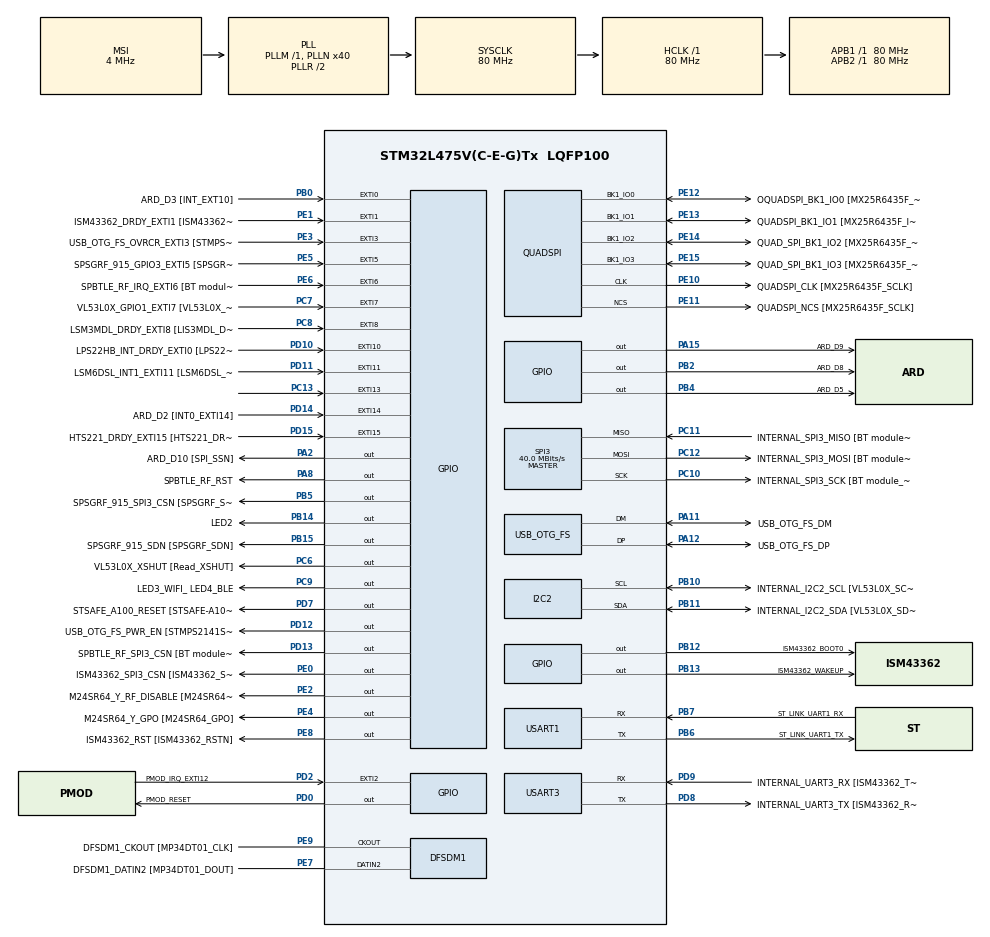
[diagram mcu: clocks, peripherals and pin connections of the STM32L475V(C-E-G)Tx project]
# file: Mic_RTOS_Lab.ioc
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FREERTOS.Tasks01=AudioTask,24,512,StartAudioTask,Default,NULL,Dynamic,NULL,NULL
I2C2.Timing=0x10D19CE4
Mcu.Family=STM32L4
Mcu.Name=STM32L475V(C-E-G)Tx
Mcu.Package=LQFP100
NVIC.EXTI15_10_IRQn=true\:5\:0\:false\:false\:true\:true\:true\:true\:true
NVIC.EXTI9_5_IRQn=true\:5\:0\:false\:false\:true\:true\:true\:true\:true
NVIC.PriorityGroup=NVIC_PRIORITYGROUP_4
NVIC.TIM2_IRQn=true\:5\:0\:false\:false\:true\:true\:true\:true\:true
NVIC.TIM6_DAC_IRQn=true\:15\:0\:false\:false\:true\:false\:false\:true\:true
NVIC.TimeBase=TIM6_DAC_IRQn
NVIC.TimeBaseIP=TIM6
PA0.GPIO_Label=ARD_D1 [UART4_TX]
PA0.Signal=UART4_TX
PA1.GPIO_Label=ARD_D0 [UART4_RX]
PA1.Signal=UART4_RX
PA10.GPIO_Label=USB_OTG_FS_ID
PA10.Signal=USB_OTG_FS_ID
PA11.GPIO_Label=USB_OTG_FS_DM
PA11.Mode=Device_Only
PA11.Signal=USB_OTG_FS_DM
PA12.GPIO_Label=USB_OTG_FS_DP
PA12.Mode=Device_Only
PA12.Signal=USB_OTG_FS_DP
PA13\ (JTMS-SWDIO).GPIO_Label=SYS_JTMS_SWDIO
PA13\ (JTMS-SWDIO).Mode=Serial_Wire
PA13\ (JTMS-SWDIO).Signal=SYS_JTMS-SWDIO
PA14\ (JTCK-SWCLK).GPIO_Label=SYS_JTCK_SWCLK
PA14\ (JTCK-SWCLK).Mode=Serial_Wire
PA14\ (JTCK-SWCLK).Signal=SYS_JTCK-SWCLK
PA15\ (JTDI).GPIO_Label=ARD_D9
PA15\ (JTDI).Signal=GPIO_Output
PA2.GPIO_Label=ARD_D10 [SPI_SSN]
PA2.Signal=GPIO_Output
PA3.GPIO_Label=ARD_D4
PA3.Signal=S_TIM2_CH4
PA4.GPIO_Label=ARD_D7
PA4.Signal=ADCx_IN9
PA5.GPIO_Label=ARD_D13 [SPI1_SCK]
PA5.Signal=SPI1_SCK
PA6.GPIO_Label=ARD_D12 [SPI1_MISO]
PA6.Signal=SPI1_MISO
PA7.GPIO_Label=ARD_D11 [SPI1_MOSI]
PA7.Signal=SPI1_MOSI
PA8.GPIO_Label=SPBTLE_RF_RST
PA8.Signal=GPIO_Output
PA9.GPIO_Label=USB_OTG_FS_VBUS [STMPS2141STR_OUT]
PA9.Signal=USB_OTG_FS_VBUS
PB0.GPIO_Label=ARD_D3 [INT_EXT10]
PB0.Signal=GPXTI0
PB1.GPIO_Label=ARD_D6 [ADC1_IN6]
PB1.Signal=ADCx_IN16
PB10.GPIO_Label=INTERNAL_I2C2_SCL [VL53L0X_SCL]
PB10.GPIO_Pu=GPIO_PULLUP
PB10.Mode=I2C
PB10.Signal=I2C2_SCL
PB11.GPIO_Label=INTERNAL_I2C2_SDA [VL53L0X_SDA]
PB11.GPIO_Pu=GPIO_PULLUP
PB11.Mode=I2C
PB11.Signal=I2C2_SDA
PB12.GPIO_Label=ISM43362_BOOT0
PB12.Signal=GPIO_Output
PB13.GPIO_Label=ISM43362_WAKEUP
PB13.Signal=GPIO_Output
PB14.GPIO_Label=LED2
PB14.Signal=GPIO_Output
PB15.GPIO_Label=SPSGRF_915_SDN [SPSGRF_SDN]
PB15.Signal=GPIO_Output
PB2.GPIO_Label=ARD_D8
PB2.Signal=GPIO_Output
PB3\ (JTDO-TRACESWO).GPIO_Label=SYS_JTD0_SWO
PB3\ (JTDO-TRACESWO).Signal=SYS_JTDO-SWO
PB4\ (NJTRST).GPIO_Label=ARD_D5
PB4\ (NJTRST).Signal=GPIO_Output
PB5.GPIO_Label=SPSGRF_915_SPI3_CSN [SPSGRF_SPI_CS]
PB5.PinState=GPIO_PIN_SET
PB5.Signal=GPIO_Output
PB6.GPIO_Label=ST_LINK_UART1_TX
PB6.Mode=Asynchronous
PB6.Signal=USART1_TX
PB7.GPIO_Label=ST_LINK_UART1_RX
PB7.Mode=Asynchronous
PB7.Signal=USART1_RX
PB8.GPIO_Label=ARD_D15 [I2C1_SCL]
PB8.Signal=I2C1_SCL
PB9.GPIO_Label=ARD_D14 [I2C1_SDA]
PB9.Signal=I2C1_SDA
PC0.GPIO_Label=ARD_A5 [ADC]
PC0.Signal=ADCx_IN1
PC1.GPIO_Label=ARD_A4 [ADC]
PC1.Signal=ADCx_IN2
PC10.GPIO_Label=INTERNAL_SPI3_SCK [BT module_SPI_SCLK] [ISM43362_SCK]
PC10.Mode=Full_Duplex_Master
PC10.Signal=SPI3_SCK
PC11.GPIO_Label=INTERNAL_SPI3_MISO [BT module_SPI_MISO] [ISM43362_MISO]
PC11.Mode=Full_Duplex_Master
PC11.Signal=SPI3_MISO
PC12.GPIO_Label=INTERNAL_SPI3_MOSI [BT module_SPI_MOSI] [ISM43362_MOSI]
PC12.Mode=Full_Duplex_Master
PC12.Signal=SPI3_MOSI
PC13.GPIO_ModeDefaultEXTI=GPIO_MODE_IT_RISING_FALLING
PC13.Signal=GPXTI13
PC14-OSC32_IN\ (PC14).Mode=LSE-External-Oscillator
PC14-OSC32_IN\ (PC14).Signal=RCC_OSC32_IN
PC15-OSC32_OUT\ (PC15).Mode=LSE-External-Oscillator
PC15-OSC32_OUT\ (PC15).Signal=RCC_OSC32_OUT
PC2.GPIO_Label=ARD_A3 [ADC]
PC2.Signal=ADCx_IN3
PC3.GPIO_Label=ARD_A2 [ADC]
PC3.Signal=ADCx_IN4
PC4.GPIO_Label=ARD_A1 [ADC]
PC4.Signal=ADCx_IN13
PC5.GPIO_Label=ARD_A0 [ADC]
PC5.Signal=ADCx_IN14
PC6.GPIO_Label=VL53L0X_XSHUT [Read_XSHUT]
PC6.Signal=GPIO_Output
PC7.GPIO_Label=VL53L0X_GPIO1_EXTI7 [VL53L0X_GPIO1]
PC7.Signal=GPXTI7
PC8.GPIO_Label=LSM3MDL_DRDY_EXTI8 [LIS3MDL_DRDY]
PC8.Signal=GPXTI8
PC9.GPIO_Label=LED3_WIFI_ LED4_BLE
PC9.Signal=GPIO_Output
PD0.GPIO_Label=PMOD_RESET
PD0.Signal=GPIO_Output
PD1.GPIO_Label=PMOD_SPI2_SCK
PD1.Signal=SPI2_SCK
PD10.GPIO_Label=LPS22HB_INT_DRDY_EXTI0 [LPS22HB_INT_DRDY] 
PD10.Signal=GPXTI10
PD11.GPIO_Label=LSM6DSL_INT1_EXTI11 [LSM6DSL_INT1]
PD11.Signal=GPXTI11
PD12.GPIO_Label=USB_OTG_FS_PWR_EN [STMPS2141STR_EN]
PD12.Signal=GPIO_Output
PD13.GPIO_Label=SPBTLE_RF_SPI3_CSN [BT module_SPI_CS]
PD13.PinState=GPIO_PIN_SET
PD13.Signal=GPIO_Output
PD14.GPIO_Label=ARD_D2 [INT0_EXTI14]
PD14.Signal=GPXTI14
PD15.GPIO_Label=HTS221_DRDY_EXTI15 [HTS221_DRDY]
PD15.Signal=GPXTI15
PD2.GPIO_Label=PMOD_IRQ_EXTI12
PD2.Signal=GPXTI2
PD3.GPIO_Label=PMOD_UART2_CTS
PD3.Signal=USART2_CTS
PD4.GPIO_Label=PMOD_UART2_RTS
PD4.Signal=USART2_RTS
PD5.GPIO_Label=PMOD_UART2_TX
PD5.Signal=USART2_TX
PD6.GPIO_Label=PMOD_UART2_RX
PD6.Signal=USART2_RX
PD7.GPIO_Label=STSAFE_A100_RESET [STSAFE-A100_RESET]
PD7.Signal=GPIO_Output
PD8.GPIO_Label=INTERNAL_UART3_TX [ISM43362_RX]
PD8.Mode=Asynchronous
PD8.Signal=USART3_TX
PD9.GPIO_Label=INTERNAL_UART3_RX [ISM43362_TX]
PD9.Mode=Asynchronous
PD9.Signal=USART3_RX
PE0.GPIO_Label=ISM43362_SPI3_CSN [ISM43362_SSN]
PE0.PinState=GPIO_PIN_SET
PE0.Signal=GPIO_Output
PE1.GPIO_Label=ISM43362_DRDY_EXTI1 [ISM43362_DATARDY]
PE1.Signal=GPXTI1
PE10.GPIO_Label=QUADSPI_CLK [MX25R6435F_SCLK]
PE10.Mode=Single Bank
PE10.Signal=QUADSPI_CLK
PE11.GPIO_Label=QUADSPI_NCS [MX25R6435F_SCLK]
PE11.Mode=Single Bank
PE11.Signal=QUADSPI_NCS
PE12.GPIO_Label=OQUADSPI_BK1_IO0 [MX25R6435F_IO0]
PE12.Mode=Single Bank
PE12.Signal=QUADSPI_BK1_IO0
PE13.GPIO_Label=QUADSPI_BK1_IO1 [MX25R6435F_IO1]
PE13.Mode=Single Bank
PE13.Signal=QUADSPI_BK1_IO1
PE14.GPIO_Label=QUAD_SPI_BK1_IO2 [MX25R6435F_IO2]
PE14.Mode=Single Bank
PE14.Signal=QUADSPI_BK1_IO2
PE15.GPIO_Label=QUAD_SPI_BK1_IO3 [MX25R6435F_IO3]
PE15.Mode=Single Bank
PE15.Signal=QUADSPI_BK1_IO3
PE2.GPIO_Label=M24SR64_Y_RF_DISABLE [M24SR64_RFDIS]
PE2.Signal=GPIO_Output
PE3.GPIO_Label=USB_OTG_FS_OVRCR_EXTI3 [STMPS2141STR_FAULT]
PE3.Signal=GPXTI3
PE4.GPIO_Label=M24SR64_Y_GPO [M24SR64_GPO]
PE4.Signal=GPIO_Output
PE5.GPIO_Label=SPSGRF_915_GPIO3_EXTI5 [SPSGRF_GPIO_3]
PE5.Signal=GPXTI5
PE6.GPIO_Label=SPBTLE_RF_IRQ_EXTI6 [BT module_SPI_IRQ]
PE6.Signal=GPXTI6
PE7.GPIO_Label=DFSDM1_DATIN2 [MP34DT01_DOUT]
PE7.Signal=S_DATAIN2DFSDM1
PE8.GPIO_Label=ISM43362_RST [ISM43362_RSTN]
PE8.Signal=GPIO_Output
PE9.GPIO_Label=DFSDM1_CKOUT [MP34DT01_CLK]
PE9.Signal=S_CKOUTDFSDM1
ProjectManager.HeapSize=0x200
ProjectManager.StackSize=0x400
ProjectManager.TargetToolchain=STM32CubeIDE
QUADSPI.ClockPrescaler=2
QUADSPI.FifoThreshold=4
QUADSPI.FlashSize=23
QUADSPI.SampleShifting=QSPI_SAMPLE_SHIFTING_HALFCYCLE
RCC.ADCFreq_Value=48000000
RCC.AHBFreq_Value=80000000
RCC.APB1Freq_Value=80000000
RCC.APB1TimFreq_Value=80000000
RCC.APB2Freq_Value=80000000
RCC.APB2TimFreq_Value=80000000
RCC.CortexFreq_Value=80000000
RCC.HCLKFreq_Value=80000000
RCC.HSE_VALUE=8000000
RCC.HSI_VALUE=16000000
RCC.MSI_VALUE=4000000
RCC.PLLN=40
RCC.PLLSAI1N=24
RCC.SYSCLKFreq_VALUE=80000000
RCC.SYSCLKSource=RCC_SYSCLKSOURCE_PLLCLK
RCC.USBFreq_Value=48000000
RCC.VCOOutputFreq_Value=160000000
SH.ADCx_IN1.0=ADC1_IN1
SH.ADCx_IN13.0=ADC1_IN13
SH.ADCx_IN14.0=ADC1_IN14
SH.ADCx_IN16.0=ADC1_IN16
SH.ADCx_IN2.0=ADC1_IN2
SH.ADCx_IN3.0=ADC1_IN3
SH.ADCx_IN4.0=ADC1_IN4
SH.ADCx_IN9.0=ADC1_IN9
SH.S_CKOUTDFSDM1.0=DFSDM1_CKOUT,CKOUT
SH.S_CKOUTDFSDM1.1=DFSDM1_CKOUT,PDM_SPI_Input_from_ch12_and_Internal_Clock
SH.S_DATAIN2DFSDM1.0=DFSDM1_DATIN2,PDM_SPI_Input_from_ch12_and_Internal_Clock
SH.S_TIM2_CH4.0=TIM2_CH4
SPI3.CalculateBaudRate=40.0 MBits/s
SPI3.Direction=SPI_DIRECTION_2LINES
SPI3.Mode=SPI_MODE_MASTER
SPI3.VirtualType=VM_MASTER
TIM2.Period=19999
TIM2.Prescaler=39999
USART1.VirtualMode-Asynchronous=VM_ASYNC
USART3.VirtualMode-Asynchronous=VM_ASYNC
USB_OTG_FS.VirtualMode=Device_Only
VP_FREERTOS_VS_CMSIS_V2.Mode=CMSIS_V2
VP_SYS_VS_tim6.Mode=TIM6
VP_TIM2_VS_ClockSourceINT.Mode=Internal
board=B-L475E-IOT01A2

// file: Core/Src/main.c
/* USER CODE BEGIN Header */
/**
  ******************************************************************************
  * @file           : main.c
  * @brief          : Main program body
  ******************************************************************************
  * @attention
  *
  * Copyright (c) 2026 STMicroelectronics.
  * All rights reserved.
  *
  * This software is licensed under terms that can be found in the LICENSE file
  * in the root directory of this software component.
  * If no LICENSE file comes with this software, it is provided AS-IS.
  *
  ******************************************************************************
  */
/* USER CODE END Header */
#include "main.h"
#include "cmsis_os.h"

/* USER CODE BEGIN PD */
/*
 * 麥克風 MP34DT01 (PDM) -> DFSDM1 Channel1 (讀 PE7 = DATIN2) -> Filter0 -> DMA1_Channel4 -> PCM_Buffer
 *
 * 時脈：DFSDM CKOUT = SYSCLK 80 MHz / 40 = 2 MHz   (MP34DT01 可接受 1 ~ 3.25 MHz)
 * 濾波：Sinc3, FOSR = 125, IOSR = 1               -> 取樣率 = 2 MHz / 125 = 16 kHz
 *
 * PCM_Buffer 有 PCM_BUFFER_LEN 個 sample，DMA 為 circular 模式：
 *   填滿前半 (top half)    -> HalfCplt callback -> toggle PIN1 (ARD_D8 = PB2)
 *   填滿後半 (bottom half) -> Cplt callback     -> toggle PIN2 (ARD_D9 = PA15)
 * 每半個 buffer 的時間 = (PCM_BUFFER_LEN/2) / 16 kHz = 256 / 16000 = 16 ms
 * PIN1、PIN2 各自每 32 ms toggle 一次 -> 方波週期 64 ms (15.625 Hz)，兩者相位差 16 ms
 * 用邏輯分析儀量到 PIN1 方波頻率 f 後反推取樣率：Fs = f * 2 * PCM_BUFFER_LEN
 */
#define AUDIO_CKOUT_DIVIDER   40U     /* 80 MHz / 40 = 2 MHz 麥克風時脈 */
#define AUDIO_FOSR            125U    /* 2 MHz / 125 = 16 kHz 取樣率   */
#define PCM_BUFFER_LEN        512U    /* 整個 buffer 的 sample 數       */

#define PIN1_GPIO_Port        ARD_D8_GPIO_Port   /* PB2  : top half    */
#define PIN1_Pin              ARD_D8_Pin
#define PIN2_GPIO_Port        ARD_D9_GPIO_Port   /* PA15 : bottom half */
#define PIN2_Pin              ARD_D9_Pin

#define FLAG_HALF_FULL        0x01U
#define FLAG_FULL             0x02U
/* USER CODE END PD */

DFSDM_Channel_HandleTypeDef hdfsdm1_channel1;

I2C_HandleTypeDef hi2c2;

QSPI_HandleTypeDef hqspi;

SPI_HandleTypeDef hspi3;

TIM_HandleTypeDef htim2;

UART_HandleTypeDef huart1;
UART_HandleTypeDef huart3;

PCD_HandleTypeDef hpcd_USB_OTG_FS;

/* Definitions for AudioTask */
osThreadId_t AudioTaskHandle;
const osThreadAttr_t AudioTask_attributes = {
  .name = "AudioTask",
  .stack_size = 512 * 4,
  .priority = (osPriority_t) osPriorityNormal,
};

void SystemClock_Config(void);
static void MX_GPIO_Init(void);
static void MX_DFSDM1_Init(void);
static void MX_I2C2_Init(void);
static void MX_QUADSPI_Init(void);
static void MX_SPI3_Init(void);
static void MX_TIM2_Init(void);
static void MX_USART1_UART_Init(void);
static void MX_USART3_UART_Init(void);
static void MX_USB_OTG_FS_PCD_Init(void);
void StartAudioTask(void *argument);

/* USER CODE BEGIN 0 */
DFSDM_Filter_HandleTypeDef hdfsdm1_filter0;
DMA_HandleTypeDef          hdma_dfsdm1_flt0;

/* DMA 目的地：DFSDM 輸出 24-bit 資料放在 32-bit word 的高 24 位 */
int32_t PCM_Buffer[PCM_BUFFER_LEN];

/* 計數器，方便在 debugger 的 Live Expressions 觀察 */
volatile uint32_t halfCpltCount = 0;
volatile uint32_t cpltCount     = 0;
volatile uint32_t taskLoopCount = 0;

/*
 * DFSDM Filter0 + DMA 初始化。
 * 寫在 USER CODE 區塊裡，所以就算用 CubeMX 重新產生程式碼也不會被覆蓋。
 */
static void Audio_DFSDM_Filter_Init(void)
{
  hdfsdm1_filter0.Instance                          = DFSDM1_Filter0;
  hdfsdm1_filter0.Init.RegularParam.Trigger         = DFSDM_FILTER_SW_TRIGGER;
  hdfsdm1_filter0.Init.RegularParam.FastMode        = ENABLE;
  hdfsdm1_filter0.Init.RegularParam.DmaMode         = ENABLE;
  hdfsdm1_filter0.Init.InjectedParam.Trigger       = DFSDM_FILTER_SW_TRIGGER;
  hdfsdm1_filter0.Init.InjectedParam.ScanMode      = DISABLE;
  hdfsdm1_filter0.Init.InjectedParam.DmaMode       = DISABLE;
  hdfsdm1_filter0.Init.InjectedParam.ExtTrigger    = DFSDM_FILTER_EXT_TRIG_TIM1_TRGO;
  hdfsdm1_filter0.Init.InjectedParam.ExtTriggerEdge = DFSDM_FILTER_EXT_TRIG_RISING_EDGE;
  hdfsdm1_filter0.Init.FilterParam.SincOrder        = DFSDM_FILTER_SINC3_ORDER;
  hdfsdm1_filter0.Init.FilterParam.Oversampling     = AUDIO_FOSR;
  hdfsdm1_filter0.Init.FilterParam.IntOversampling  = 1;
  if (HAL_DFSDM_FilterInit(&hdfsdm1_filter0) != HAL_OK)   /* 會呼叫 HAL_DFSDM_FilterMspInit 設定 DMA */
  {
    Error_Handler();
  }

  /* Filter0 的 regular 轉換來源 = Channel1，連續轉換 */
  if (HAL_DFSDM_FilterConfigRegChannel(&hdfsdm1_filter0, DFSDM_CHANNEL_1,
                                       DFSDM_CONTINUOUS_CONV_ON) != HAL_OK)
  {
    Error_Handler();
  }
}
/* USER CODE END 0 */

int main(void)
{

  /* MCU Configuration--------------------------------------------------------*/

  /* Reset of all peripherals, Initializes the Flash interface and the Systick. */
  HAL_Init();

  /* Configure the system clock */
  SystemClock_Config();

  /* Initialize all configured peripherals */
  MX_GPIO_Init();
  MX_DFSDM1_Init();
  MX_I2C2_Init();
  MX_QUADSPI_Init();
  MX_SPI3_Init();
  MX_TIM2_Init();
  MX_USART1_UART_Init();
  MX_USART3_UART_Init();
  MX_USB_OTG_FS_PCD_Init();
  /* USER CODE BEGIN 2 */
  Audio_DFSDM_Filter_Init();
  HAL_GPIO_WritePin(PIN1_GPIO_Port, PIN1_Pin, GPIO_PIN_RESET);
  HAL_GPIO_WritePin(PIN2_GPIO_Port, PIN2_Pin, GPIO_PIN_RESET);
  /* USER CODE END 2 */

  /* Init scheduler */
  osKernelInitialize();

  /* Create the thread(s) */
  /* creation of AudioTask */
  AudioTaskHandle = osThreadNew(StartAudioTask, NULL, &AudioTask_attributes);

  /* Start scheduler */
  osKernelStart();

  /* We should never get here as control is now taken by the scheduler */

  /* Infinite loop */
  while (1)
  {

  }
}

void SystemClock_Config(void)
{
  RCC_OscInitTypeDef RCC_OscInitStruct = {0};
  RCC_ClkInitTypeDef RCC_ClkInitStruct = {0};

  /** Configure the main internal regulator output voltage
  */
  if (HAL_PWREx_ControlVoltageScaling(PWR_REGULATOR_VOLTAGE_SCALE1) != HAL_OK)
  {
    Error_Handler();
  }

  /** Configure LSE Drive Capability
  */
  HAL_PWR_EnableBkUpAccess();
  __HAL_RCC_LSEDRIVE_CONFIG(RCC_LSEDRIVE_LOW);

  /** Initializes the RCC Oscillators according to the specified parameters
  * in the RCC_OscInitTypeDef structure.
  */
  RCC_OscInitStruct.OscillatorType = RCC_OSCILLATORTYPE_LSE|RCC_OSCILLATORTYPE_MSI;
  RCC_OscInitStruct.LSEState = RCC_LSE_ON;
  RCC_OscInitStruct.MSIState = RCC_MSI_ON;
  RCC_OscInitStruct.MSICalibrationValue = 0;
  RCC_OscInitStruct.MSIClockRange = RCC_MSIRANGE_6;
  RCC_OscInitStruct.PLL.PLLState = RCC_PLL_ON;
  RCC_OscInitStruct.PLL.PLLSource = RCC_PLLSOURCE_MSI;
  RCC_OscInitStruct.PLL.PLLM = 1;
  RCC_OscInitStruct.PLL.PLLN = 40;
  RCC_OscInitStruct.PLL.PLLP = RCC_PLLP_DIV7;
  RCC_OscInitStruct.PLL.PLLQ = RCC_PLLQ_DIV2;
  RCC_OscInitStruct.PLL.PLLR = RCC_PLLR_DIV2;
  if (HAL_RCC_OscConfig(&RCC_OscInitStruct) != HAL_OK)
  {
    Error_Handler();
  }

  /** Initializes the CPU, AHB and APB buses clocks
  */
  RCC_ClkInitStruct.ClockType = RCC_CLOCKTYPE_HCLK|RCC_CLOCKTYPE_SYSCLK
                              |RCC_CLOCKTYPE_PCLK1|RCC_CLOCKTYPE_PCLK2;
  RCC_ClkInitStruct.SYSCLKSource = RCC_SYSCLKSOURCE_PLLCLK;
  RCC_ClkInitStruct.AHBCLKDivider = RCC_SYSCLK_DIV1;
  RCC_ClkInitStruct.APB1CLKDivider = RCC_HCLK_DIV1;
  RCC_ClkInitStruct.APB2CLKDivider = RCC_HCLK_DIV1;

  if (HAL_RCC_ClockConfig(&RCC_ClkInitStruct, FLASH_LATENCY_4) != HAL_OK)
  {
    Error_Handler();
  }

  /** Enable MSI Auto calibration
  */
  HAL_RCCEx_EnableMSIPLLMode();
}

static void MX_DFSDM1_Init(void)
{

  hdfsdm1_channel1.Instance = DFSDM1_Channel1;
  hdfsdm1_channel1.Init.OutputClock.Activation = ENABLE;
  hdfsdm1_channel1.Init.OutputClock.Selection = DFSDM_CHANNEL_OUTPUT_CLOCK_SYSTEM;
  hdfsdm1_channel1.Init.OutputClock.Divider = 2;
  hdfsdm1_channel1.Init.Input.Multiplexer = DFSDM_CHANNEL_EXTERNAL_INPUTS;
  hdfsdm1_channel1.Init.Input.DataPacking = DFSDM_CHANNEL_STANDARD_MODE;
  hdfsdm1_channel1.Init.Input.Pins = DFSDM_CHANNEL_FOLLOWING_CHANNEL_PINS;
  hdfsdm1_channel1.Init.SerialInterface.Type = DFSDM_CHANNEL_SPI_RISING;
  hdfsdm1_channel1.Init.SerialInterface.SpiClock = DFSDM_CHANNEL_SPI_CLOCK_INTERNAL;
  hdfsdm1_channel1.Init.Awd.FilterOrder = DFSDM_CHANNEL_FASTSINC_ORDER;
  hdfsdm1_channel1.Init.Awd.Oversampling = 1;
  hdfsdm1_channel1.Init.Offset = 0;
  hdfsdm1_channel1.Init.RightBitShift = 0x00;
  if (HAL_DFSDM_ChannelInit(&hdfsdm1_channel1) != HAL_OK)
  {
    Error_Handler();
  }
  /* USER CODE BEGIN DFSDM1_Init 2 */
  /*
   * CubeMX 預設的 CKOUT 除頻是 2 (80 MHz / 2 = 40 MHz)，超過麥克風規格。
   * 這裡重新初始化成 80 MHz / AUDIO_CKOUT_DIVIDER = 2 MHz。
   * 放在 USER CODE 裡，重新產生程式碼時不會被蓋掉。
   */
  HAL_DFSDM_ChannelDeInit(&hdfsdm1_channel1);
  hdfsdm1_channel1.Init.OutputClock.Divider = AUDIO_CKOUT_DIVIDER;
  hdfsdm1_channel1.Init.RightBitShift       = 0x00;
  if (HAL_DFSDM_ChannelInit(&hdfsdm1_channel1) != HAL_OK)
  {
    Error_Handler();
  }
  /* USER CODE END DFSDM1_Init 2 */

}

static void MX_I2C2_Init(void)
{

  hi2c2.Instance = I2C2;
  hi2c2.Init.Timing = 0x10D19CE4;
  hi2c2.Init.OwnAddress1 = 0;
  hi2c2.Init.AddressingMode = I2C_ADDRESSINGMODE_7BIT;
  hi2c2.Init.DualAddressMode = I2C_DUALADDRESS_DISABLE;
  hi2c2.Init.OwnAddress2 = 0;
  hi2c2.Init.OwnAddress2Masks = I2C_OA2_NOMASK;
  hi2c2.Init.GeneralCallMode = I2C_GENERALCALL_DISABLE;
  hi2c2.Init.NoStretchMode = I2C_NOSTRETCH_DISABLE;
  if (HAL_I2C_Init(&hi2c2) != HAL_OK)
  {
    Error_Handler();
  }

  /** Configure Analogue filter
  */
  if (HAL_I2CEx_ConfigAnalogFilter(&hi2c2, I2C_ANALOGFILTER_ENABLE) != HAL_OK)
  {
    Error_Handler();
  }

  /** Configure Digital filter
  */
  if (HAL_I2CEx_ConfigDigitalFilter(&hi2c2, 0) != HAL_OK)
  {
    Error_Handler();
  }

}

static void MX_QUADSPI_Init(void)
{

  /* QUADSPI parameter configuration*/
  hqspi.Instance = QUADSPI;
  hqspi.Init.ClockPrescaler = 2;
  hqspi.Init.FifoThreshold = 4;
  hqspi.Init.SampleShifting = QSPI_SAMPLE_SHIFTING_HALFCYCLE;
  hqspi.Init.FlashSize = 23;
  hqspi.Init.ChipSelectHighTime = QSPI_CS_HIGH_TIME_1_CYCLE;
  hqspi.Init.ClockMode = QSPI_CLOCK_MODE_0;
  if (HAL_QSPI_Init(&hqspi) != HAL_OK)
  {
    Error_Handler();
  }

}

static void MX_SPI3_Init(void)
{

  /* SPI3 parameter configuration*/
  hspi3.Instance = SPI3;
  hspi3.Init.Mode = SPI_MODE_MASTER;
  hspi3.Init.Direction = SPI_DIRECTION_2LINES;
  hspi3.Init.DataSize = SPI_DATASIZE_4BIT;
  hspi3.Init.CLKPolarity = SPI_POLARITY_LOW;
  hspi3.Init.CLKPhase = SPI_PHASE_1EDGE;
  hspi3.Init.NSS = SPI_NSS_SOFT;
  hspi3.Init.BaudRatePrescaler = SPI_BAUDRATEPRESCALER_2;
  hspi3.Init.FirstBit = SPI_FIRSTBIT_MSB;
  hspi3.Init.TIMode = SPI_TIMODE_DISABLE;
  hspi3.Init.CRCCalculation = SPI_CRCCALCULATION_DISABLE;
  hspi3.Init.CRCPolynomial = 7;
  hspi3.Init.CRCLength = SPI_CRC_LENGTH_DATASIZE;
  hspi3.Init.NSSPMode = SPI_NSS_PULSE_ENABLE;
  if (HAL_SPI_Init(&hspi3) != HAL_OK)
  {
    Error_Handler();
  }

}

static void MX_TIM2_Init(void)
{

  TIM_ClockConfigTypeDef sClockSourceConfig = {0};
  TIM_MasterConfigTypeDef sMasterConfig = {0};

  htim2.Instance = TIM2;
  htim2.Init.Prescaler = 39999;
  htim2.Init.CounterMode = TIM_COUNTERMODE_UP;
  htim2.Init.Period = 19999;
  htim2.Init.ClockDivision = TIM_CLOCKDIVISION_DIV1;
  htim2.Init.AutoReloadPreload = TIM_AUTORELOAD_PRELOAD_DISABLE;
  if (HAL_TIM_Base_Init(&htim2) != HAL_OK)
  {
    Error_Handler();
  }
  sClockSourceConfig.ClockSource = TIM_CLOCKSOURCE_INTERNAL;
  if (HAL_TIM_ConfigClockSource(&htim2, &sClockSourceConfig) != HAL_OK)
  {
    Error_Handler();
  }
  sMasterConfig.MasterOutputTrigger = TIM_TRGO_RESET;
  sMasterConfig.MasterSlaveMode = TIM_MASTERSLAVEMODE_DISABLE;
  if (HAL_TIMEx_MasterConfigSynchronization(&htim2, &sMasterConfig) != HAL_OK)
  {
    Error_Handler();
  }

}

static void MX_USART1_UART_Init(void)
{

  huart1.Instance = USART1;
  huart1.Init.BaudRate = 115200;
  huart1.Init.WordLength = UART_WORDLENGTH_8B;
  huart1.Init.StopBits = UART_STOPBITS_1;
  huart1.Init.Parity = UART_PARITY_NONE;
  huart1.Init.Mode = UART_MODE_TX_RX;
  huart1.Init.HwFlowCtl = UART_HWCONTROL_NONE;
  huart1.Init.OverSampling = UART_OVERSAMPLING_16;
  huart1.Init.OneBitSampling = UART_ONE_BIT_SAMPLE_DISABLE;
  huart1.AdvancedInit.AdvFeatureInit = UART_ADVFEATURE_NO_INIT;
  if (HAL_UART_Init(&huart1) != HAL_OK)
  {
    Error_Handler();
  }

}

static void MX_USART3_UART_Init(void)
{

  huart3.Instance = USART3;
  huart3.Init.BaudRate = 115200;
  huart3.Init.WordLength = UART_WORDLENGTH_8B;
  huart3.Init.StopBits = UART_STOPBITS_1;
  huart3.Init.Parity = UART_PARITY_NONE;
  huart3.Init.Mode = UART_MODE_TX_RX;
  huart3.Init.HwFlowCtl = UART_HWCONTROL_NONE;
  huart3.Init.OverSampling = UART_OVERSAMPLING_16;
  huart3.Init.OneBitSampling = UART_ONE_BIT_SAMPLE_DISABLE;
  huart3.AdvancedInit.AdvFeatureInit = UART_ADVFEATURE_NO_INIT;
  if (HAL_UART_Init(&huart3) != HAL_OK)
  {
    Error_Handler();
  }

}

static void MX_USB_OTG_FS_PCD_Init(void)
{

  hpcd_USB_OTG_FS.Instance = USB_OTG_FS;
  hpcd_USB_OTG_FS.Init.dev_endpoints = 6;
  hpcd_USB_OTG_FS.Init.speed = PCD_SPEED_FULL;
  hpcd_USB_OTG_FS.Init.phy_itface = PCD_PHY_EMBEDDED;
  hpcd_USB_OTG_FS.Init.Sof_enable = DISABLE;
  hpcd_USB_OTG_FS.Init.low_power_enable = DISABLE;
  hpcd_USB_OTG_FS.Init.lpm_enable = DISABLE;
  hpcd_USB_OTG_FS.Init.battery_charging_enable = DISABLE;
  hpcd_USB_OTG_FS.Init.use_dedicated_ep1 = DISABLE;
  hpcd_USB_OTG_FS.Init.vbus_sensing_enable = DISABLE;
  if (HAL_PCD_Init(&hpcd_USB_OTG_FS) != HAL_OK)
  {
    Error_Handler();
  }

}

static void MX_GPIO_Init(void)
{
  GPIO_InitTypeDef GPIO_InitStruct = {0};

  /* GPIO Ports Clock Enable */
  __HAL_RCC_GPIOE_CLK_ENABLE();
  __HAL_RCC_GPIOC_CLK_ENABLE();
  __HAL_RCC_GPIOA_CLK_ENABLE();
  __HAL_RCC_GPIOB_CLK_ENABLE();
  __HAL_RCC_GPIOD_CLK_ENABLE();

  /*Configure GPIO pin Output Level */
  HAL_GPIO_WritePin(GPIOE, M24SR64_Y_RF_DISABLE_Pin|M24SR64_Y_GPO_Pin|ISM43362_RST_Pin, GPIO_PIN_RESET);

  /*Configure GPIO pin Output Level */
  HAL_GPIO_WritePin(GPIOA, ARD_D10_Pin|SPBTLE_RF_RST_Pin|ARD_D9_Pin, GPIO_PIN_RESET);

  /*Configure GPIO pin Output Level */
  HAL_GPIO_WritePin(GPIOB, ARD_D8_Pin|ISM43362_BOOT0_Pin|ISM43362_WAKEUP_Pin|LED2_Pin
                          |SPSGRF_915_SDN_Pin|ARD_D5_Pin, GPIO_PIN_RESET);

  /*Configure GPIO pin Output Level */
  HAL_GPIO_WritePin(GPIOD, USB_OTG_FS_PWR_EN_Pin|PMOD_RESET_Pin|STSAFE_A100_RESET_Pin, GPIO_PIN_RESET);

  /*Configure GPIO pin Output Level */
  HAL_GPIO_WritePin(SPBTLE_RF_SPI3_CSN_GPIO_Port, SPBTLE_RF_SPI3_CSN_Pin, GPIO_PIN_SET);

  /*Configure GPIO pin Output Level */
  HAL_GPIO_WritePin(GPIOC, VL53L0X_XSHUT_Pin|LED3_WIFI__LED4_BLE_Pin, GPIO_PIN_RESET);

  /*Configure GPIO pin Output Level */
  HAL_GPIO_WritePin(SPSGRF_915_SPI3_CSN_GPIO_Port, SPSGRF_915_SPI3_CSN_Pin, GPIO_PIN_SET);

  /*Configure GPIO pin Output Level */
  HAL_GPIO_WritePin(ISM43362_SPI3_CSN_GPIO_Port, ISM43362_SPI3_CSN_Pin, GPIO_PIN_SET);

  /*Configure GPIO pins : M24SR64_Y_RF_DISABLE_Pin M24SR64_Y_GPO_Pin ISM43362_RST_Pin ISM43362_SPI3_CSN_Pin */
  GPIO_InitStruct.Pin = M24SR64_Y_RF_DISABLE_Pin|M24SR64_Y_GPO_Pin|ISM43362_RST_Pin|ISM43362_SPI3_CSN_Pin;
  GPIO_InitStruct.Mode = GPIO_MODE_OUTPUT_PP;
  GPIO_InitStruct.Pull = GPIO_NOPULL;
  GPIO_InitStruct.Speed = GPIO_SPEED_FREQ_LOW;
  HAL_GPIO_Init(GPIOE, &GPIO_InitStruct);

  /*Configure GPIO pins : USB_OTG_FS_OVRCR_EXTI3_Pin SPSGRF_915_GPIO3_EXTI5_Pin SPBTLE_RF_IRQ_EXTI6_Pin ISM43362_DRDY_EXTI1_Pin */
  GPIO_InitStruct.Pin = USB_OTG_FS_OVRCR_EXTI3_Pin|SPSGRF_915_GPIO3_EXTI5_Pin|SPBTLE_RF_IRQ_EXTI6_Pin|ISM43362_DRDY_EXTI1_Pin;
  GPIO_InitStruct.Mode = GPIO_MODE_IT_RISING;
  GPIO_InitStruct.Pull = GPIO_NOPULL;
  HAL_GPIO_Init(GPIOE, &GPIO_InitStruct);

  /*Configure GPIO pin : PC13 */
  GPIO_InitStruct.Pin = GPIO_PIN_13;
  GPIO_InitStruct.Mode = GPIO_MODE_IT_RISING_FALLING;
  GPIO_InitStruct.Pull = GPIO_NOPULL;
  HAL_GPIO_Init(GPIOC, &GPIO_InitStruct);

  /*Configure GPIO pins : ARD_A5_Pin ARD_A4_Pin ARD_A3_Pin ARD_A2_Pin
                           ARD_A1_Pin ARD_A0_Pin */
  GPIO_InitStruct.Pin = ARD_A5_Pin|ARD_A4_Pin|ARD_A3_Pin|ARD_A2_Pin
                          |ARD_A1_Pin|ARD_A0_Pin;
  GPIO_InitStruct.Mode = GPIO_MODE_ANALOG_ADC_CONTROL;
  GPIO_InitStruct.Pull = GPIO_NOPULL;
  HAL_GPIO_Init(GPIOC, &GPIO_InitStruct);

  /*Configure GPIO pins : ARD_D1_Pin ARD_D0_Pin */
  GPIO_InitStruct.Pin = ARD_D1_Pin|ARD_D0_Pin;
  GPIO_InitStruct.Mode = GPIO_MODE_AF_PP;
  GPIO_InitStruct.Pull = GPIO_NOPULL;
  GPIO_InitStruct.Speed = GPIO_SPEED_FREQ_VERY_HIGH;
  GPIO_InitStruct.Alternate = GPIO_AF8_UART4;
  HAL_GPIO_Init(GPIOA, &GPIO_InitStruct);

  /*Configure GPIO pins : ARD_D10_Pin SPBTLE_RF_RST_Pin ARD_D9_Pin */
  GPIO_InitStruct.Pin = ARD_D10_Pin|SPBTLE_RF_RST_Pin|ARD_D9_Pin;
  GPIO_InitStruct.Mode = GPIO_MODE_OUTPUT_PP;
  GPIO_InitStruct.Pull = GPIO_NOPULL;
  GPIO_InitStruct.Speed = GPIO_SPEED_FREQ_LOW;
  HAL_GPIO_Init(GPIOA, &GPIO_InitStruct);

  /*Configure GPIO pin : ARD_D7_Pin */
  GPIO_InitStruct.Pin = ARD_D7_Pin;
  GPIO_InitStruct.Mode = GPIO_MODE_ANALOG_ADC_CONTROL;
  GPIO_InitStruct.Pull = GPIO_NOPULL;
  HAL_GPIO_Init(ARD_D7_GPIO_Port, &GPIO_InitStruct);

  /*Configure GPIO pins : ARD_D13_Pin ARD_D12_Pin ARD_D11_Pin */
  GPIO_InitStruct.Pin = ARD_D13_Pin|ARD_D12_Pin|ARD_D11_Pin;
  GPIO_InitStruct.Mode = GPIO_MODE_AF_PP;
  GPIO_InitStruct.Pull = GPIO_NOPULL;
  GPIO_InitStruct.Speed = GPIO_SPEED_FREQ_VERY_HIGH;
  GPIO_InitStruct.Alternate = GPIO_AF5_SPI1;
  HAL_GPIO_Init(GPIOA, &GPIO_InitStruct);

  /*Configure GPIO pin : ARD_D3_Pin */
  GPIO_InitStruct.Pin = ARD_D3_Pin;
  GPIO_InitStruct.Mode = GPIO_MODE_IT_RISING;
  GPIO_InitStruct.Pull = GPIO_NOPULL;
  HAL_GPIO_Init(ARD_D3_GPIO_Port, &GPIO_InitStruct);

  /*Configure GPIO pin : ARD_D6_Pin */
  GPIO_InitStruct.Pin = ARD_D6_Pin;
  GPIO_InitStruct.Mode = GPIO_MODE_ANALOG_ADC_CONTROL;
  GPIO_InitStruct.Pull = GPIO_NOPULL;
  HAL_GPIO_Init(ARD_D6_GPIO_Port, &GPIO_InitStruct);

  /*Configure GPIO pins : ARD_D8_Pin ISM43362_BOOT0_Pin ISM43362_WAKEUP_Pin LED2_Pin
                           SPSGRF_915_SDN_Pin ARD_D5_Pin SPSGRF_915_SPI3_CSN_Pin */
  GPIO_InitStruct.Pin = ARD_D8_Pin|ISM43362_BOOT0_Pin|ISM43362_WAKEUP_Pin|LED2_Pin
                          |SPSGRF_915_SDN_Pin|ARD_D5_Pin|SPSGRF_915_SPI3_CSN_Pin;
  GPIO_InitStruct.Mode = GPIO_MODE_OUTPUT_PP;
  GPIO_InitStruct.Pull = GPIO_NOPULL;
  GPIO_InitStruct.Speed = GPIO_SPEED_FREQ_LOW;
  HAL_GPIO_Init(GPIOB, &GPIO_InitStruct);

  /*Configure GPIO pins : LPS22HB_INT_DRDY_EXTI0_Pin LSM6DSL_INT1_EXTI11_Pin ARD_D2_Pin HTS221_DRDY_EXTI15_Pin
                           PMOD_IRQ_EXTI12_Pin */
  GPIO_InitStruct.Pin = LPS22HB_INT_DRDY_EXTI0_Pin|LSM6DSL_INT1_EXTI11_Pin|ARD_D2_Pin|HTS221_DRDY_EXTI15_Pin
                          |PMOD_IRQ_EXTI12_Pin;
  GPIO_InitStruct.Mode = GPIO_MODE_IT_RISING;
  GPIO_InitStruct.Pull = GPIO_NOPULL;
  HAL_GPIO_Init(GPIOD, &GPIO_InitStruct);

  /*Configure GPIO pins : USB_OTG_FS_PWR_EN_Pin SPBTLE_RF_SPI3_CSN_Pin PMOD_RESET_Pin STSAFE_A100_RESET_Pin */
  GPIO_InitStruct.Pin = USB_OTG_FS_PWR_EN_Pin|SPBTLE_RF_SPI3_CSN_Pin|PMOD_RESET_Pin|STSAFE_A100_RESET_Pin;
  GPIO_InitStruct.Mode = GPIO_MODE_OUTPUT_PP;
  GPIO_InitStruct.Pull = GPIO_NOPULL;
  GPIO_InitStruct.Speed = GPIO_SPEED_FREQ_LOW;
  HAL_GPIO_Init(GPIOD, &GPIO_InitStruct);

  /*Configure GPIO pins : VL53L0X_XSHUT_Pin LED3_WIFI__LED4_BLE_Pin */
  GPIO_InitStruct.Pin = VL53L0X_XSHUT_Pin|LED3_WIFI__LED4_BLE_Pin;
  GPIO_InitStruct.Mode = GPIO_MODE_OUTPUT_PP;
  GPIO_InitStruct.Pull = GPIO_NOPULL;
  GPIO_InitStruct.Speed = GPIO_SPEED_FREQ_LOW;
  HAL_GPIO_Init(GPIOC, &GPIO_InitStruct);

  /*Configure GPIO pins : VL53L0X_GPIO1_EXTI7_Pin LSM3MDL_DRDY_EXTI8_Pin */
  GPIO_InitStruct.Pin = VL53L0X_GPIO1_EXTI7_Pin|LSM3MDL_DRDY_EXTI8_Pin;
  GPIO_InitStruct.Mode = GPIO_MODE_IT_RISING;
  GPIO_InitStruct.Pull = GPIO_NOPULL;
  HAL_GPIO_Init(GPIOC, &GPIO_InitStruct);

  /*Configure GPIO pin : PMOD_SPI2_SCK_Pin */
  GPIO_InitStruct.Pin = PMOD_SPI2_SCK_Pin;
  GPIO_InitStruct.Mode = GPIO_MODE_AF_PP;
  GPIO_InitStruct.Pull = GPIO_NOPULL;
  GPIO_InitStruct.Speed = GPIO_SPEED_FREQ_VERY_HIGH;
  GPIO_InitStruct.Alternate = GPIO_AF5_SPI2;
  HAL_GPIO_Init(PMOD_SPI2_SCK_GPIO_Port, &GPIO_InitStruct);

  /*Configure GPIO pins : PMOD_UART2_CTS_Pin PMOD_UART2_RTS_Pin PMOD_UART2_TX_Pin PMOD_UART2_RX_Pin */
  GPIO_InitStruct.Pin = PMOD_UART2_CTS_Pin|PMOD_UART2_RTS_Pin|PMOD_UART2_TX_Pin|PMOD_UART2_RX_Pin;
  GPIO_InitStruct.Mode = GPIO_MODE_AF_PP;
  GPIO_InitStruct.Pull = GPIO_NOPULL;
  GPIO_InitStruct.Speed = GPIO_SPEED_FREQ_VERY_HIGH;
  GPIO_InitStruct.Alternate = GPIO_AF7_USART2;
  HAL_GPIO_Init(GPIOD, &GPIO_InitStruct);

  /*Configure GPIO pins : ARD_D15_Pin ARD_D14_Pin */
  GPIO_InitStruct.Pin = ARD_D15_Pin|ARD_D14_Pin;
  GPIO_InitStruct.Mode = GPIO_MODE_AF_OD;
  GPIO_InitStruct.Pull = GPIO_NOPULL;
  GPIO_InitStruct.Speed = GPIO_SPEED_FREQ_VERY_HIGH;
  GPIO_InitStruct.Alternate = GPIO_AF4_I2C1;
  HAL_GPIO_Init(GPIOB, &GPIO_InitStruct);

  /* EXTI interrupt init*/
  HAL_NVIC_SetPriority(EXTI9_5_IRQn, 5, 0);
  HAL_NVIC_EnableIRQ(EXTI9_5_IRQn);

  HAL_NVIC_SetPriority(EXTI15_10_IRQn, 5, 0);
  HAL_NVIC_EnableIRQ(EXTI15_10_IRQn);

}

/* USER CODE BEGIN 4 */
/*
 * DFSDM Filter MSP：設定 DMA1_Channel4 (request 0 = DFSDM1_FLT0)，circular 模式。
 * HAL 裡是 weak function，這裡覆寫它。
 */
void HAL_DFSDM_FilterMspInit(DFSDM_Filter_HandleTypeDef *hdfsdm_filter)
{
  if (hdfsdm_filter->Instance == DFSDM1_Filter0)
  {
    __HAL_RCC_DMA1_CLK_ENABLE();

    hdma_dfsdm1_flt0.Instance                 = DMA1_Channel4;
    hdma_dfsdm1_flt0.Init.Request             = DMA_REQUEST_0;
    hdma_dfsdm1_flt0.Init.Direction           = DMA_PERIPH_TO_MEMORY;
    hdma_dfsdm1_flt0.Init.PeriphInc           = DMA_PINC_DISABLE;
    hdma_dfsdm1_flt0.Init.MemInc              = DMA_MINC_ENABLE;
    hdma_dfsdm1_flt0.Init.PeriphDataAlignment = DMA_PDATAALIGN_WORD;
    hdma_dfsdm1_flt0.Init.MemDataAlignment    = DMA_MDATAALIGN_WORD;
    hdma_dfsdm1_flt0.Init.Mode                = DMA_CIRCULAR;   /* 持續、週期性地填 buffer */
    hdma_dfsdm1_flt0.Init.Priority            = DMA_PRIORITY_HIGH;
    if (HAL_DMA_Init(&hdma_dfsdm1_flt0) != HAL_OK)
    {
      Error_Handler();
    }
    __HAL_LINKDMA(hdfsdm_filter, hdmaReg, hdma_dfsdm1_flt0);

    /* 優先權 5 = configLIBRARY_MAX_SYSCALL_INTERRUPT_PRIORITY，ISR 內才能呼叫 RTOS API */
    HAL_NVIC_SetPriority(DMA1_Channel4_IRQn, 5, 0);
    HAL_NVIC_EnableIRQ(DMA1_Channel4_IRQn);
  }
}

/* PCM_Buffer 前半 (top half) 填滿 */
void HAL_DFSDM_FilterRegConvHalfCpltCallback(DFSDM_Filter_HandleTypeDef *hdfsdm_filter)
{
  if (hdfsdm_filter == &hdfsdm1_filter0)
  {
    HAL_GPIO_TogglePin(PIN1_GPIO_Port, PIN1_Pin);
    halfCpltCount++;
    osThreadFlagsSet(AudioTaskHandle, FLAG_HALF_FULL);
  }
}

/* PCM_Buffer 後半 (bottom half) 填滿 */
void HAL_DFSDM_FilterRegConvCpltCallback(DFSDM_Filter_HandleTypeDef *hdfsdm_filter)
{
  if (hdfsdm_filter == &hdfsdm1_filter0)
  {
    HAL_GPIO_TogglePin(PIN2_GPIO_Port, PIN2_Pin);
    cpltCount++;
    osThreadFlagsSet(AudioTaskHandle, FLAG_FULL);
  }
}

void HAL_DFSDM_FilterErrorCallback(DFSDM_Filter_HandleTypeDef *hdfsdm_filter)
{
  Error_Handler();
}
/* USER CODE END 4 */

void StartAudioTask(void *argument)
{
  /* USER CODE BEGIN 5 */
  /* 啟動 DFSDM + DMA (circular)，之後硬體會一直把資料搬進 PCM_Buffer */
  if (HAL_DFSDM_FilterRegularStart_DMA(&hdfsdm1_filter0, PCM_Buffer, PCM_BUFFER_LEN) != HAL_OK)
  {
    Error_Handler();
  }

  /* Infinite loop */
  for (;;)
  {
    /* 等 DMA 半滿 / 全滿的通知；題目不需要保存資料，所以這裡只計數 */
    uint32_t flags = osThreadFlagsWait(FLAG_HALF_FULL | FLAG_FULL, osFlagsWaitAny, osWaitForever);
    if ((flags & 0x80000000U) == 0U)   /* 不是錯誤碼 */
    {
      taskLoopCount++;
      /* 若要處理資料：FLAG_HALF_FULL -> PCM_Buffer[0 .. LEN/2-1]
       *              FLAG_FULL      -> PCM_Buffer[LEN/2 .. LEN-1] */
    }
  }
  /* USER CODE END 5 */
}

void HAL_TIM_PeriodElapsedCallback(TIM_HandleTypeDef *htim)
{
  if (htim->Instance == TIM6)
  {
    HAL_IncTick();
  }
}

void Error_Handler(void)
{
  __disable_irq();
  while (1)
  {
  }
}
